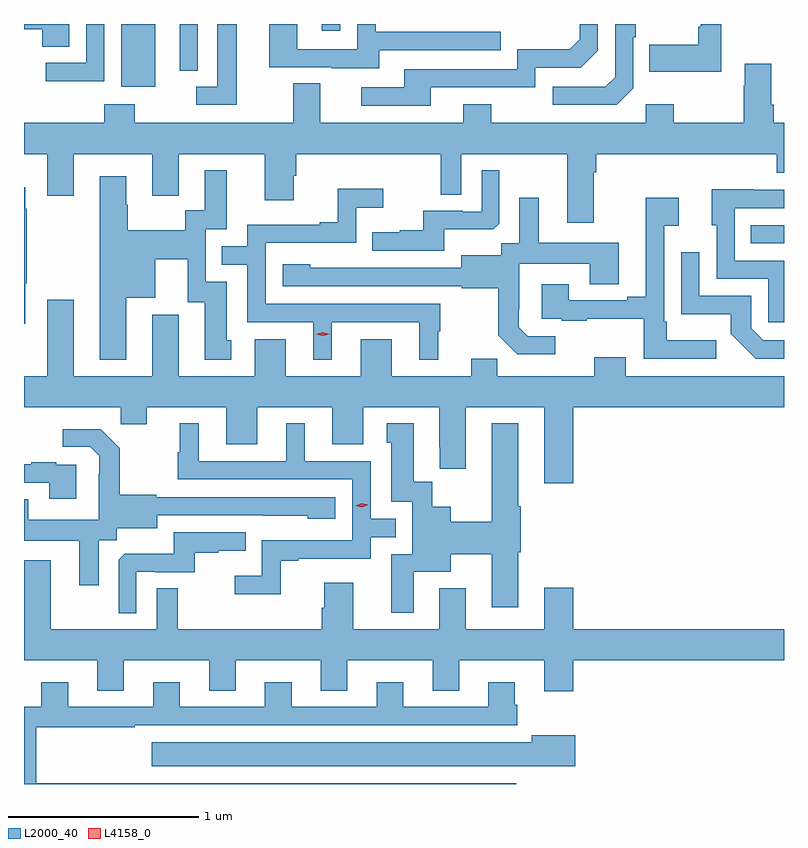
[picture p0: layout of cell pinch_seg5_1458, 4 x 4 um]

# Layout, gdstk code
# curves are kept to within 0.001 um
import gdstk
lib = gdstk.Library(unit=1e-6, precision=1e-09)
def R(c, l, rs):  # rectangles x0, y0, x1, y1
    for r in rs: c.add(gdstk.rectangle(r[:2], r[2:], *l))
def P(c, l, *ps):  # polygons
    for p in ps: c.add(gdstk.Polygon(p, *l))
L2000_40 = (2000, 40)
L4158_0 = (4158, 0)

pinch_seg5_1458 = lib.new_cell('pinch_seg5_1458')
R(pinch_seg5_1458, L2000_40, [(207.709,848.298,207.883,848.394), (204.395,849.122,204.574,849.453), (205.451,849.417,205.548,849.453)])
P(pinch_seg5_1458, L2000_40, [(204.306,849.453),(204.21,849.453),(204.21,849.249),(203.997,849.249),(203.997,849.151),(204.306,849.151)],
  [(204.798,849.453),(204.704,849.453),(204.704,849.362),(204.702,849.362),(204.702,849.208),(204.798,849.208)],
  [(207.553,849.453),(207.444,849.453),(207.444,849.439),(207.432,849.439),(207.432,849.343),(207.175,849.343),(207.175,849.203),(207.553,849.203)],
  [(207.09,849.114),(207.09,849.383),(207.103,849.383),(207.103,849.453),(206.994,849.453),(206.994,849.174),(206.943,849.123),(206.667,849.123),(206.667,849.027),(207.003,849.027)],
  [(206.023,849.12),(206.574,849.12),(206.574,849.222),(206.814,849.222),(206.904,849.312),(206.904,849.453),(206.808,849.453),(206.808,849.372),(206.755,849.319),(206.478,849.319),(206.478,849.216),(205.883,849.216),(205.883,849.12),(205.659,849.12),(205.659,849.024),(206.023,849.024)],
  [(204.121,849.453),(203.883,849.453),(203.883,849.425),(203.978,849.425),(203.978,849.334),(204.121,849.334)],
  [(205.753,849.315),(206.393,849.315),(206.393,849.411),(205.734,849.411),(205.734,849.453),(205.638,849.453),(205.638,849.321),(205.32,849.321),(205.32,849.453),(205.175,849.453),(205.175,849.225),(205.499,849.225),(205.499,849.221),(205.753,849.221)],
  [(205.003,849.453),(204.899,849.453),(204.899,849.123),(204.789,849.123),(204.789,849.027),(205.003,849.027)],
  [(206.881,848.672),(206.894,848.672),(206.894,848.768),(207.845,848.768),(207.845,848.669),(207.883,848.669),(207.883,848.932),(207.83,848.932),(207.83,849.028),(207.817,849.028),(207.817,849.244),(207.677,849.244),(207.677,849.131),(207.67,849.131),(207.67,848.932),(207.303,848.932),(207.303,849.031),(207.156,849.031),(207.156,848.932),(206.343,848.932),(206.343,849.031),(206.195,849.031),(206.195,848.932),(205.441,848.932),(205.441,849.14),(205.301,849.14),(205.301,848.932),(204.465,848.932),(204.465,849.031),(204.305,849.031),(204.305,848.932),(203.883,848.932),(203.883,848.768),(204.005,848.768),(204.005,848.55),(204.145,848.55),(204.145,848.768),(204.557,848.768),(204.557,848.55),(204.697,848.55),(204.697,848.768),(205.151,848.768),(205.151,848.526),(205.303,848.526),(205.303,848.655),(205.316,848.655),(205.316,848.768),(206.076,848.768),(206.076,848.554),(206.184,848.554),(206.184,848.768),(206.741,848.768),(206.741,848.406),(206.881,848.406)],
  [(206.095,848.372),(206.353,848.372),(206.385,848.403),(206.385,848.683),(206.292,848.683),(206.292,848.466),(206.192,848.466),(206.192,848.469),(205.985,848.469),(205.985,848.368),(205.861,848.368),(205.861,848.356),(205.717,848.356),(205.717,848.259),(206.095,848.259)],
  [(204.421,848.012),(204.574,848.012),(204.574,848.216),(204.744,848.216),(204.744,847.989),(204.833,847.989),(204.833,847.686),(204.973,847.686),(204.973,847.788),(204.949,847.788),(204.949,848.097),(204.84,848.097),(204.84,848.373),(204.949,848.373),(204.949,848.683),(204.833,848.683),(204.833,848.474),(204.732,848.474),(204.732,848.368),(204.429,848.368),(204.429,848.502),(204.421,848.502),(204.421,848.653),(204.281,848.653),(204.281,847.685),(204.421,847.685)],
  [(203.89,848.089),(203.898,848.089),(203.898,848.48),(203.89,848.48),(203.89,848.593),(203.883,848.593),(203.883,847.875),(203.89,847.875)],
  [(205.504,847.884),(205.964,847.884),(205.964,847.685),(206.062,847.685),(206.062,847.836),(206.074,847.836),(206.074,847.98),(205.155,847.98),(205.155,848.301),(205.632,848.301),(205.632,848.486),(205.774,848.486),(205.774,848.585),(205.534,848.585),(205.534,848.41),(205.439,848.41),(205.439,848.397),(205.059,848.397),(205.059,848.283),(204.925,848.283),(204.925,848.187),(205.059,848.187),(205.059,847.884),(205.406,847.884),(205.406,847.685),(205.504,847.685)],
  [(207.883,848.208),(207.624,848.208),(207.624,848.484),(207.883,848.484),(207.883,848.58),(207.721,848.58),(207.721,848.582),(207.503,848.582),(207.503,848.394),(207.528,848.394),(207.528,848.112),(207.801,848.112),(207.801,847.884),(207.883,847.884)],
  [(206.68,847.809),(206.535,847.809),(206.488,847.856),(206.488,847.951),(206.49,847.951),(206.49,848.192),(206.861,848.192),(206.861,848.083),(207.013,848.083),(207.013,848.302),(206.593,848.302),(206.593,848.539),(206.489,848.539),(206.489,848.3),(206.394,848.3),(206.394,848.236),(206.183,848.236),(206.183,848.169),(205.389,848.17),(205.389,848.188),(205.245,848.188),(205.245,848.073),(206.187,848.073),(206.187,848.061),(206.379,848.061),(206.379,847.815),(206.479,847.715),(206.68,847.715)],
  [(207.526,847.789),(207.265,847.789),(207.265,847.885),(207.252,847.885),(207.252,848.39),(207.328,848.39),(207.328,848.539),(207.155,848.539),(207.155,848.017),(207.059,848.017),(207.059,847.998),(206.749,847.998),(206.749,848.083),(206.609,848.083),(206.609,847.902),(206.713,847.902),(206.713,847.89),(206.845,847.89),(206.845,847.901),(207.144,847.901),(207.144,847.692),(207.526,847.692)],
  [(207.883,847.788),(207.774,847.788),(207.711,847.851),(207.711,848.022),(207.438,848.022),(207.438,848.251),(207.342,848.251),(207.342,847.925),(207.604,847.925),(207.604,847.823),(207.734,847.692),(207.883,847.692)],
  [(206.774,847.436),(207.883,847.436),(207.883,847.6),(207.049,847.6),(207.049,847.699),(206.885,847.699),(206.885,847.6),(206.375,847.6),(206.375,847.691),(206.237,847.691),(206.237,847.6),(205.819,847.6),(205.819,847.795),(205.655,847.795),(205.655,847.6),(205.261,847.6),(205.261,847.795),(205.097,847.795),(205.097,847.6),(204.697,847.6),(204.697,847.924),(204.557,847.924),(204.557,847.6),(204.145,847.6),(204.145,848.002),(204.005,848.002),(204.005,847.6),(203.883,847.6),(203.883,847.436),(204.391,847.436),(204.391,847.346),(204.529,847.346),(204.529,847.436),(204.947,847.436),(204.947,847.242),(205.111,847.242),(205.111,847.436),(205.505,847.436),(205.505,847.242),(205.669,847.242),(205.669,847.436),(206.069,847.436),(206.069,847.225),(206.072,847.225),(206.072,847.113),(206.209,847.113),(206.209,847.436),(206.621,847.436),(206.621,847.035),(206.774,847.035)],
  [(205.233,846.627),(205.327,846.627),(205.327,846.639),(205.707,846.639),(205.707,846.753),(205.84,846.753),(205.84,846.849),(205.707,846.849),(205.707,847.152),(205.36,847.152),(205.36,847.351),(205.262,847.351),(205.262,847.152),(204.802,847.152),(204.802,847.351),(204.704,847.351),(204.704,847.2),(204.693,847.2),(204.693,847.056),(205.611,847.056),(205.611,846.735),(205.134,846.735),(205.134,846.55),(204.993,846.55),(204.993,846.452),(205.233,846.452)],
  [(205.933,846.569),(206.128,846.569),(206.128,846.661),(206.345,846.661),(206.345,846.384),(206.485,846.384),(206.485,846.672),(206.498,846.672),(206.498,846.916),(206.485,846.916),(206.485,847.351),(206.345,847.351),(206.345,846.833),(206.128,846.833),(206.128,846.913),(206.031,846.913),(206.031,847.043),(205.933,847.043),(205.933,847.351),(205.793,847.351),(205.793,847.248),(205.817,847.248),(205.817,846.939),(205.926,846.939),(205.926,846.663),(205.817,846.663),(205.817,846.354),(205.933,846.354)],
  [(204.277,846.736),(204.372,846.736),(204.372,846.8),(204.583,846.8),(204.583,846.867),(205.377,846.866),(205.377,846.848),(205.522,846.848),(205.522,846.963),(204.579,846.963),(204.579,846.976),(204.387,846.976),(204.387,847.221),(204.287,847.321),(204.087,847.321),(204.087,847.227),(204.231,847.227),(204.278,847.18),(204.278,847.085),(204.276,847.085),(204.276,846.844),(203.905,846.844),(203.905,846.953),(203.883,846.953),(203.883,846.734),(204.173,846.734),(204.173,846.498),(204.277,846.498)],
  [(204.157,847.134),(204.053,847.134),(204.053,847.147),(203.921,847.147),(203.921,847.136),(203.883,847.136),(203.883,847.038),(204.017,847.038),(204.017,846.954),(204.157,846.954)],
  [(204.474,846.57),(204.574,846.57),(204.574,846.567),(204.782,846.567),(204.782,846.669),(204.905,846.669),(204.905,846.68),(205.049,846.68),(205.049,846.777),(204.672,846.777),(204.672,846.665),(204.413,846.665),(204.381,846.633),(204.381,846.353),(204.474,846.353)],
  [(206.774,846.104),(207.883,846.104),(207.883,846.268),(206.774,846.268),(206.774,846.487),(206.621,846.487),(206.621,846.268),(206.209,846.268),(206.209,846.484),(206.069,846.484),(206.069,846.268),(205.615,846.268),(205.615,846.511),(205.463,846.511),(205.463,846.381),(205.451,846.381),(205.451,846.268),(204.691,846.268),(204.691,846.482),(204.582,846.482),(204.582,846.268),(204.025,846.268),(204.025,846.631),(203.885,846.631),(203.885,846.364),(203.883,846.364),(203.883,846.104),(204.269,846.104),(204.269,845.944),(204.409,845.944),(204.409,846.104),(204.857,846.104),(204.857,845.944),(204.997,845.944),(204.997,846.104),(205.445,846.104),(205.445,845.944),(205.585,845.944),(205.585,846.104),(206.033,846.104),(206.033,845.944),(206.173,845.944),(206.173,846.104),(206.621,846.104),(206.621,845.94),(206.774,845.94)],
  [(206.473,845.458),(203.947,845.458),(203.947,845.751),(204.467,845.751),(204.467,845.763),(206.48,845.763),(206.48,845.871),(206.467,845.871),(206.467,845.989),(206.327,845.989),(206.327,845.859),(205.879,845.859),(205.879,845.989),(205.739,845.989),(205.739,845.859),(205.291,845.859),(205.291,845.989),(205.151,845.989),(205.151,845.859),(204.703,845.859),(204.703,845.989),(204.563,845.989),(204.563,845.859),(204.115,845.859),(204.115,845.989),(203.975,845.989),(203.975,845.86),(203.883,845.86),(203.883,845.453),(206.473,845.453)],
  [(206.785,845.71),(206.555,845.71),(206.555,845.674),(204.555,845.674),(204.555,845.546),(206.785,845.546)])
P(pinch_seg5_1458, L4158_0, [(205.455,847.811),(205.419,847.821),(205.419,847.821),(205.419,847.821),(205.455,847.831),(205.491,847.821),(205.491,847.821),(205.491,847.821)],
  [(205.662,846.91),(205.627,846.918),(205.626,846.918),(205.627,846.918),(205.66,846.93),(205.695,846.923),(205.696,846.923),(205.695,846.923)])

lib.write_gds('pinch_seg5_1458.gds')
